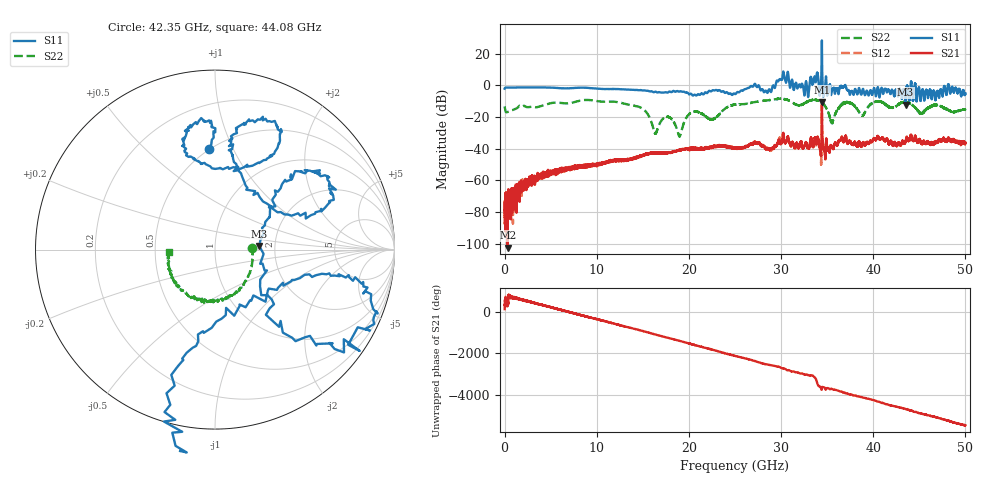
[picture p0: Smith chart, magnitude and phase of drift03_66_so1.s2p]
!Created with skrf (http://scikit-rf.org).
# Hz S RI R 50.0
!freq ReS11 ImS11 ReS21 ImS21 ReS12 ImS12 ReS22 ImS22
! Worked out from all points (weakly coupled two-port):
!   10000 points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, 5.3 MHz to 50 GHz, reference 50 ohm
!   highest |S21| = -10.71 dB at 34.43 GHz (marker M1); lowest = -102.5 dB at 335.3 MHz (marker M2)
!   lowest |S11| = -12.1 dB at 43.52 GHz (marker M3), VSWR 1.66, Z = 82.7 + j3.63 ohm
!   |S11| at or under -10 dB: 43.4863 GHz to 43.55331 GHz (67.01 MHz wide, 0.154 % of centre); 44.70659 GHz to 44.71189 GHz (5.299 MHz wide, 0.0119 % of centre)
!   |S22| runs from -32.4 to -8.4 dB; largest |S21 - S12| = 0.083
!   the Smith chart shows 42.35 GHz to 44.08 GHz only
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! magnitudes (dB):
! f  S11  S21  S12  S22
! 5.3 MHz  -2.1  -83.1  -75.5  -13.3
! 335.3 MHz  -1.4  -102.5  -77.3  -16.9
! 2.895 GHz  -1.4  -61.9  -58.3  -13.5
! 8.34 GHz  -1.5  -50.4  -51.1  -9.5
! 14.58 GHz  -3.1  -44.7  -45.0  -13.6
! 16.67 GHz  -4.4  -42.8  -42.7  -26.4
! 17.8 GHz  -4.2  -42.4  -42.4  -20.0
! 19 GHz  -3.9  -40.7  -41.0  -32.4
! 20.3 GHz  -5.6  -40.2  -39.8  -17.1
! 22.56 GHz  -3.1  -38.8  -39.3  -21.2
! 25.01 GHz  -5.5  -39.6  -39.7  -12.1
! 30.14 GHz  4.5  -33.7  -33.7  -8.5
! 33.34 GHz  2.6  -34.6  -35.2  -9.3
! 34.43 GHz  28.4  -10.7  -12.7  -10.8
! 35.52 GHz  -3.6  -38.5  -38.7  -23.1
! 36.95 GHz  0.2  -33.1  -33.4  -10.8
! 38.78 GHz  -4.6  -38.0  -37.9  -19.2
! 40.17 GHz  -3.1  -34.1  -34.2  -10.6
! 41.67 GHz  -2.9  -36.7  -37.0  -13.5
! 43.52 GHz  -12.1  -35.3  -35.1  -10.8
! 45.19 GHz  -7.2  -35.9  -36.3  -17.8
! 50 GHz  -5.2  -36.4  -36.4  -15.6
